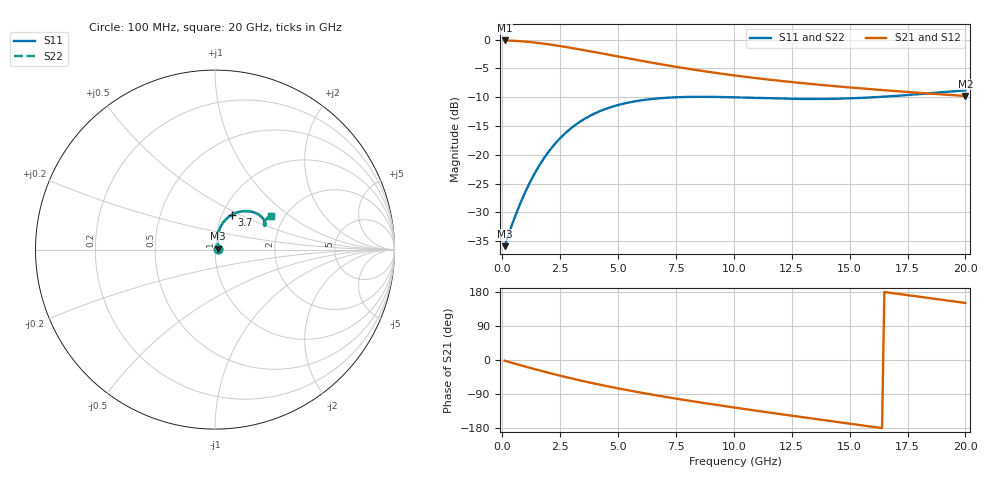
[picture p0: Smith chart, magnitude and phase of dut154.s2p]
! Touchstone file exported from HFSS 2024.1.0
!  File:  C:/UserFiles/LocalFiles/RDL_TSV_Batchsim/temp_RDL_TSV_154_1779432737.aedt
!  Generated:  03:08:16 PM May 22, 2026
!  Design:  RDL_TSV
!  Project:  temp_RDL_TSV_154_1779432737
!  Setup:  Setup1
!  Solution:  Sweep
! Variables:
!  dtsv = 6.48um
!  hbump = 3um
!  htsv = 94.03um
!  ldown = 275.6um
!  lrdl = 496.37um
!  p = 40
!  p1 = 55.48um
!  rhole = 10um
!  subl = 2812.28um
!  t = 450um
!  tdown = 2.92um
!  trdl = 3.9um
!  viad = 10um
!  wdown = 24.99um
!  wrdl = 18.83um
!  xbump = 18um
# GHz S MA R 50.000000
! Terminal data exported
! Port[1] = TM1_1_T1
! Port[2] = TM1_4_T1
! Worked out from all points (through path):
!   200 points, 100 MHz to 20 GHz, reference 50 ohm
!   highest |S21| = -0.14 dB at 100 MHz (marker M1); lowest = -9.8 dB at 20 GHz (marker M2)
!   group delay of S21, straight-line fit = 27.4 ps
!   lowest |S11| = -35.8 dB at 100 MHz (marker M3), VSWR 1.03, Z = 51.6 + j0.504 ohm
!   |S11| at or under -10 dB: start of sweep to 7.491 GHz; 9.936 GHz to 16.03 GHz (6.097 GHz wide, 47 % of centre)
!   |S22| runs from -35.8 to -8.8 dB; largest |S21 - S12| = 1.2e-14
!   S11 on the Smith chart (normalised r, x): 100 MHz: 1.03, +0.01; 3.7 GHz: 1.11, +0.45; 20 GHz: 1.70, +0.74
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0.1  0.01613 17.6  0.9844 -1.8  0.9844 -1.8  0.01613 17.6
! Gamma 0 0 0 0
! Port Impedance 50 0 50 0
0.5  0.02744 53.8  0.9775 -8.9  0.9775 -8.9  0.02744 53.8
0.8  0.03887 66.5  0.9691 -14.1  0.9691 -14.1  0.03887 66.5
1.2  0.0581 75.2  0.9536 -20.8  0.9536 -20.8  0.05808 75.2
1.6  0.08108 78.2  0.934 -27.4  0.934 -27.4  0.08105 78.2
2  0.1065 78.1  0.9112 -33.8  0.9112 -33.8  0.1065 78.1
2.5  0.1398 75.3  0.8799 -41.5  0.8799 -41.5  0.1397 75.3
3  0.1723 71.2  0.8468 -48.8  0.8468 -48.8  0.1723 71.2
3.5  0.2025 66.5  0.8129 -55.8  0.8129 -55.8  0.2024 66.5
3.7  0.2136 64.5  0.7993 -58.5  0.7993 -58.5  0.2136 64.5
4.3  0.2434 58.7  0.7592 -66.3  0.7592 -66.3  0.2433 58.8
5  0.2708 52.4  0.7144 -74.9  0.7144 -74.9  0.2708 52.5
5.9  0.2955 45.3  0.6613 -85.2  0.6613 -85.2  0.2955 45.3
6.8  0.3102 39.4  0.614 -94.8  0.614 -94.8  0.3103 39.4
7.6  0.3168 35.1  0.5769 -102.9  0.5769 -102.9  0.317 35.1
8.4  0.3192 31.7  0.5442 -110.6  0.5442 -110.6  0.3193 31.7
10.1  0.3156 27.1  0.4872 -126.2  0.4872 -126.2  0.3158 27.1
11.7  0.3091 25.6  0.4458 -140.1  0.4458 -140.1  0.3093 25.6
13.4  0.3056 26.3  0.4113 -154.6  0.4113 -154.6  0.3057 26.2
15  0.3095 28.1  0.3849 -168.0  0.3849 -168.0  0.3095 28.0
16.7  0.3222 30.0  0.3614 177.8  0.3614 177.8  0.3222 29.9
20  0.3634 31.0  0.3244 150.5  0.3244 150.5  0.3632 31.0
